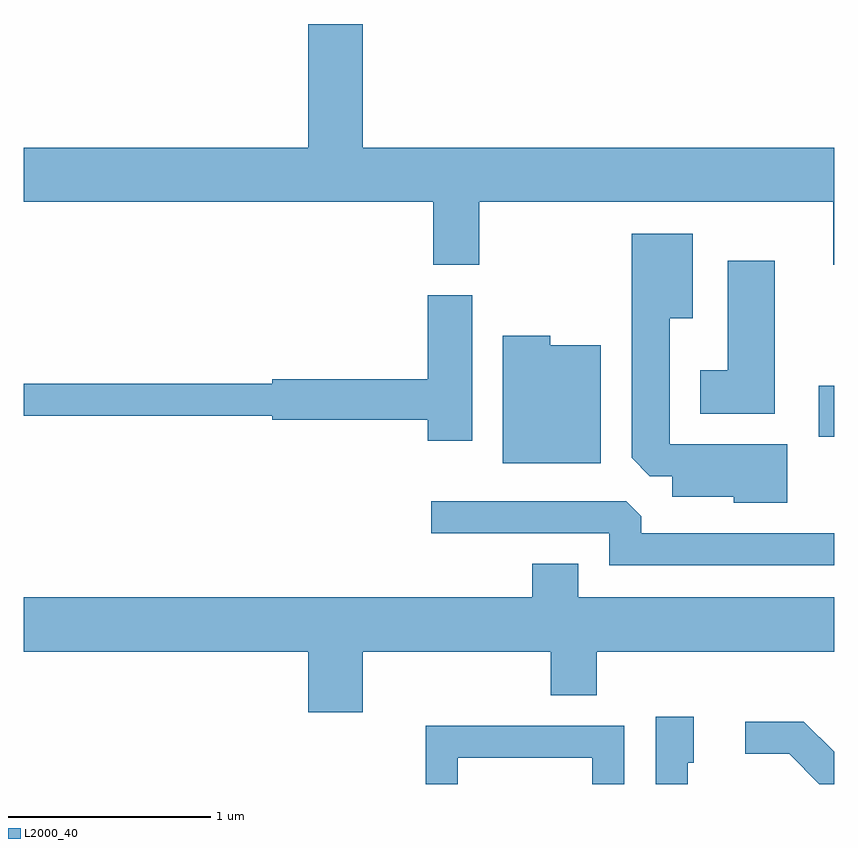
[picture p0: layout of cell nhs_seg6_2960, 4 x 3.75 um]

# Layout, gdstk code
import gdstk
lib = gdstk.Library(unit=1e-6, precision=1e-09)
def R(c, l, rs):  # rectangles x0, y0, x1, y1
    for r in rs: c.add(gdstk.rectangle(r[:2], r[2:], *l))
def P(c, l, *ps):  # polygons
    for p in ps: c.add(gdstk.Polygon(p, *l))
L2000_40 = (2000, 40)

nhs_seg6_2960 = lib.new_cell('nhs_seg6_2960')
R(nhs_seg6_2960, L2000_40, [(277.536,1659.876,277.611,1660.129)])
P(nhs_seg6_2960, L2000_40, [(275.859,1661.036),(277.606,1661.036),(277.606,1660.726),(277.611,1660.726),(277.611,1661.304),(275.284,1661.304),(275.284,1661.914),(275.016,1661.914),(275.016,1661.304),(273.611,1661.304),(273.611,1661.036),(275.631,1661.036),(275.631,1660.726),(275.859,1660.726)],
  [(277.379,1659.839),(276.799,1659.839),(276.799,1660.461),(276.914,1660.461),(276.914,1660.879),(276.611,1660.879),(276.611,1659.772),(276.702,1659.681),(276.811,1659.681),(276.811,1659.581),(277.116,1659.581),(277.116,1659.551),(277.379,1659.551)],
  [(277.319,1660.744),(277.086,1660.744),(277.086,1660.204),(276.951,1660.204),(276.951,1659.991),(277.319,1659.991)],
  [(275.824,1660.574),(275.606,1660.574),(275.606,1660.159),(274.836,1660.159),(274.836,1660.139),(273.611,1660.139),(273.611,1659.981),(274.836,1659.981),(274.836,1659.961),(275.606,1659.961),(275.606,1659.856),(275.824,1659.856)],
  [(276.459,1660.329),(276.209,1660.329),(276.209,1660.374),(275.976,1660.374),(275.976,1659.746),(276.459,1659.746)],
  [(277.611,1659.399),(276.659,1659.399),(276.659,1659.484),(276.584,1659.559),(275.623,1659.559),(275.623,1659.401),(276.501,1659.401),(276.501,1659.241),(277.611,1659.241)],
  [(275.284,1658.816),(276.211,1658.816),(276.211,1658.601),(276.439,1658.601),(276.439,1658.816),(277.611,1658.816),(277.611,1659.084),(276.349,1659.084),(276.349,1659.249),(276.121,1659.249),(276.121,1659.084),(273.611,1659.084),(273.611,1658.816),(275.016,1658.816),(275.016,1658.516),(275.284,1658.516)],
  [(276.889,1658.266),(276.919,1658.266),(276.919,1658.494),(276.731,1658.494),(276.731,1658.162),(276.889,1658.162)],
  [(277.611,1658.32),(277.462,1658.469),(277.173,1658.469),(277.173,1658.311),(277.389,1658.311),(277.538,1658.162),(277.611,1658.162)],
  [(275.754,1658.291),(276.416,1658.291),(276.416,1658.162),(276.574,1658.162),(276.574,1658.449),(275.596,1658.449),(275.596,1658.162),(275.754,1658.162)])

lib.write_gds('nhs_seg6_2960.gds')
